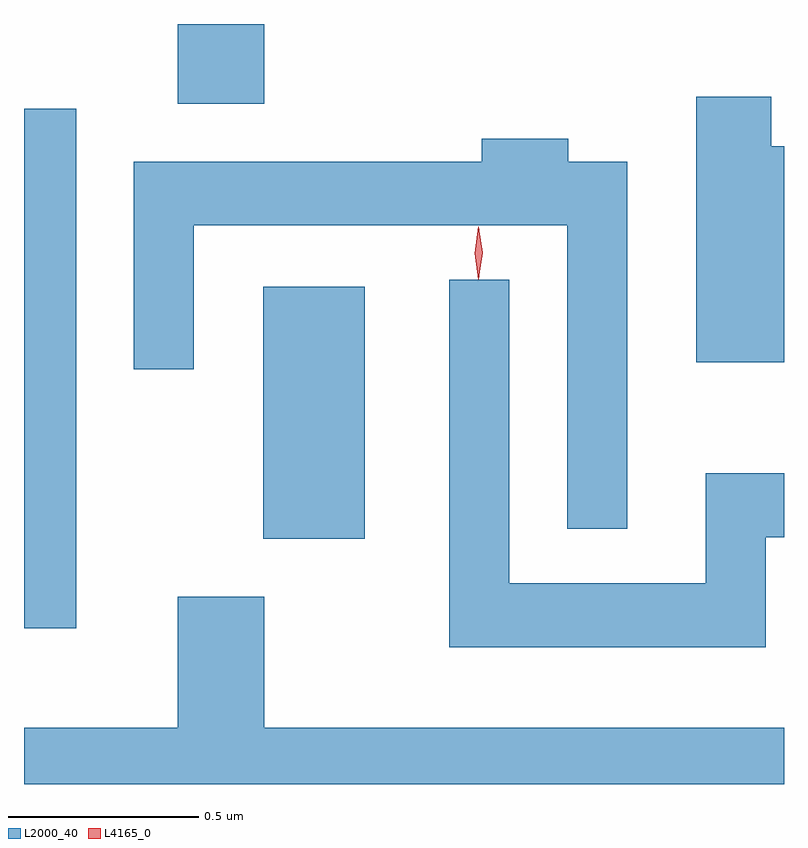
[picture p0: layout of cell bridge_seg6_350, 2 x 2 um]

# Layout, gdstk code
import gdstk
lib = gdstk.Library(unit=1e-6, precision=1e-09)
def R(c, l, rs):  # rectangles x0, y0, x1, y1
    for r in rs: c.add(gdstk.rectangle(r[:2], r[2:], *l))
def P(c, l, *ps):  # polygons
    for p in ps: c.add(gdstk.Polygon(p, *l))
L2000_40 = (2000, 40)
L4165_0 = (4165, 0)

bridge_seg6_350 = lib.new_cell('bridge_seg6_350')
R(bridge_seg6_350, L2000_40, [(1318.347,1559.446,1318.484,1560.813), (1318.976,1559.681,1319.244,1560.344), (1318.751,1560.826,1318.979,1561.036)])
P(bridge_seg6_350, L2000_40, [(1320.347,1560.714),(1320.314,1560.714),(1320.314,1560.844),(1320.116,1560.844),(1320.116,1560.146),(1320.347,1560.146)],
  [(1319.934,1560.674),(1319.779,1560.674),(1319.779,1560.734),(1319.551,1560.734),(1319.551,1560.674),(1318.636,1560.674),(1318.636,1560.128),(1318.794,1560.128),(1318.794,1560.506),(1319.776,1560.506),(1319.776,1559.708),(1319.934,1559.708)],
  [(1320.299,1559.686),(1320.347,1559.686),(1320.347,1559.854),(1320.141,1559.854),(1320.141,1559.564),(1319.624,1559.564),(1319.624,1560.363),(1319.466,1560.363),(1319.466,1559.396),(1320.299,1559.396)],
  [(1320.347,1559.184),(1318.979,1559.184),(1318.979,1559.529),(1318.751,1559.529),(1318.751,1559.184),(1318.347,1559.184),(1318.347,1559.036),(1320.347,1559.036)])
P(bridge_seg6_350, L4165_0, [(1319.543,1560.363),(1319.543,1560.364),(1319.533,1560.433),(1319.543,1560.502),(1319.543,1560.503),(1319.544,1560.502),(1319.553,1560.433),(1319.544,1560.364)],
  [(1319.544,1560.367),(1319.543,1560.368),(1319.534,1560.434),(1319.543,1560.5),(1319.544,1560.5),(1319.544,1560.5),(1319.554,1560.434),(1319.544,1560.368)])

lib.write_gds('bridge_seg6_350.gds')
